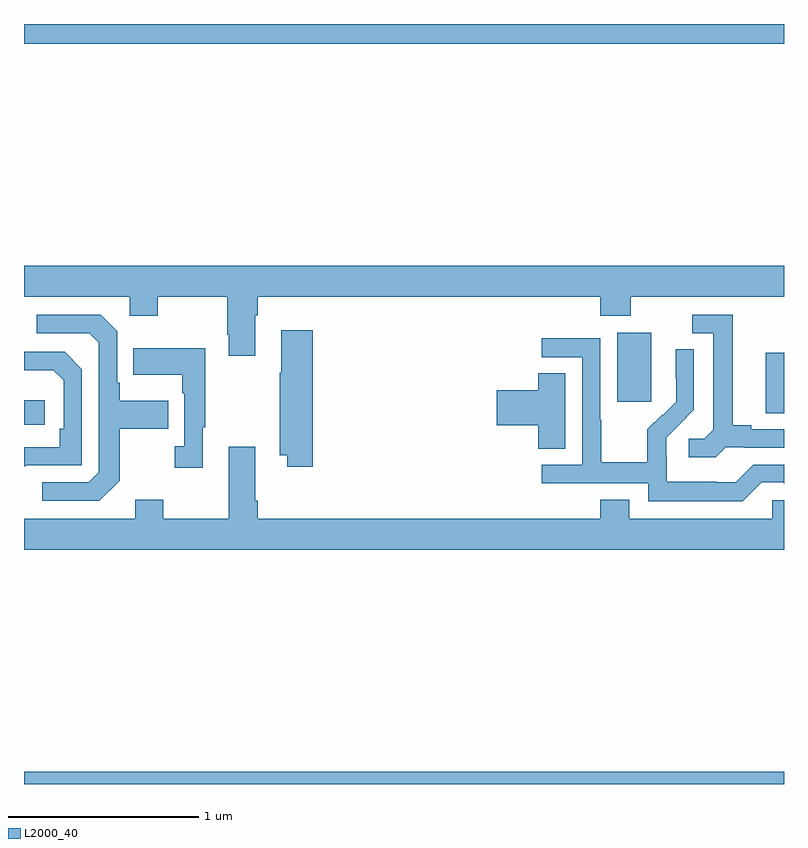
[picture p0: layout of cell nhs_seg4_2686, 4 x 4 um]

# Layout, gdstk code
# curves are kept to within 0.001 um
import gdstk
lib = gdstk.Library(unit=1e-6, precision=1e-09)
def R(c, l, rs):  # rectangles x0, y0, x1, y1
    for r in rs: c.add(gdstk.rectangle(r[:2], r[2:], *l))
def P(c, l, *ps):  # polygons
    for p in ps: c.add(gdstk.Polygon(p, *l))
L2000_40 = (2000, 40)

nhs_seg4_2686 = lib.new_cell('nhs_seg4_2686')
R(nhs_seg4_2686, L2000_40, [(251,816.9,255,816.964), (251,818.79,251.11,818.92), (254.903,818.851,255,819.171), (254.123,818.913,254.302,819.274), (251,820.796,255,820.9)])
P(nhs_seg4_2686, L2000_40, [(252.217,819.368),(252.23,819.368),(252.23,819.464),(254.033,819.464),(254.033,819.365),(254.193,819.365),(254.193,819.464),(255,819.464),(255,819.628),(251,819.628),(251,819.464),(251.556,819.464),(251.556,819.365),(251.703,819.365),(251.703,819.464),(252.07,819.464),(252.07,819.265),(252.077,819.265),(252.077,819.153),(252.217,819.153)],
  [(254.694,818.673),(254.788,818.673),(254.788,818.67),(255,818.67),(255,818.766),(254.827,818.766),(254.827,818.789),(254.731,818.789),(254.731,819.369),(254.517,819.369),(254.517,819.273),(254.627,819.273),(254.627,818.765),(254.58,818.718),(254.499,818.718),(254.499,818.621),(254.642,818.621)],
  [(251.503,818.497),(251.503,818.77),(251.759,818.77),(251.759,818.917),(251.503,818.917),(251.503,819.013),(251.49,819.013),(251.49,819.282),(251.403,819.369),(251.067,819.369),(251.067,819.273),(251.343,819.273),(251.394,819.222),(251.394,818.541),(251.34,818.487),(251.097,818.487),(251.097,818.391),(251.397,818.391)],
  [(252.521,819.289),(252.353,819.289),(252.353,819.065),(252.346,819.065),(252.346,818.63),(252.386,818.63),(252.386,818.571),(252.521,818.571)],
  [(254.883,818.487),(254.999,818.487),(255,818.484),(255,818.58),(254.838,818.58),(254.745,818.487),(254.645,818.487),(254.645,818.491),(254.382,818.491),(254.382,818.625),(254.38,818.625),(254.38,818.722),(254.526,818.87),(254.526,819.188),(254.43,819.188),(254.43,819.034),(254.432,819.034),(254.432,818.912),(254.361,818.841),(254.358,818.844),(254.281,818.767),(254.281,818.593),(254.037,818.593),(254.037,818.816),(254.034,818.816),(254.034,819.246),(253.725,819.246),(253.725,819.147),(253.938,819.147),(253.938,818.58),(253.725,818.58),(253.725,818.484),(254.286,818.484),(254.286,818.387),(254.783,818.387)],
  [(251.941,818.777),(251.953,818.777),(251.953,819.193),(251.575,819.193),(251.575,819.053),(251.832,819.053),(251.832,818.957),(251.844,818.957),(251.844,818.678),(251.793,818.678),(251.793,818.565),(251.941,818.565)],
  [(251.009,818.577),(251.304,818.577),(251.304,819.084),(251.214,819.174),(251,819.174),(251,819.077),(251.155,819.077),(251.208,819.024),(251.208,818.77),(251.188,818.77),(251.188,818.673),(251,818.673),(251,818.572),(251.009,818.572)],
  [(253.849,819.062),(253.706,819.062),(253.706,818.972),(253.488,818.972),(253.488,818.789),(253.706,818.789),(253.706,818.665),(253.849,818.665)],
  [(255,818.394),(254.937,818.394),(254.937,818.296),(254.185,818.296),(254.185,818.395),(254.033,818.395),(254.033,818.296),(252.23,818.296),(252.23,818.392),(252.217,818.392),(252.217,818.674),(252.077,818.674),(252.077,818.296),(251.733,818.296),(251.733,818.395),(251.585,818.395),(251.585,818.296),(251,818.296),(251,818.132),(255,818.132)])

lib.write_gds('nhs_seg4_2686.gds')
